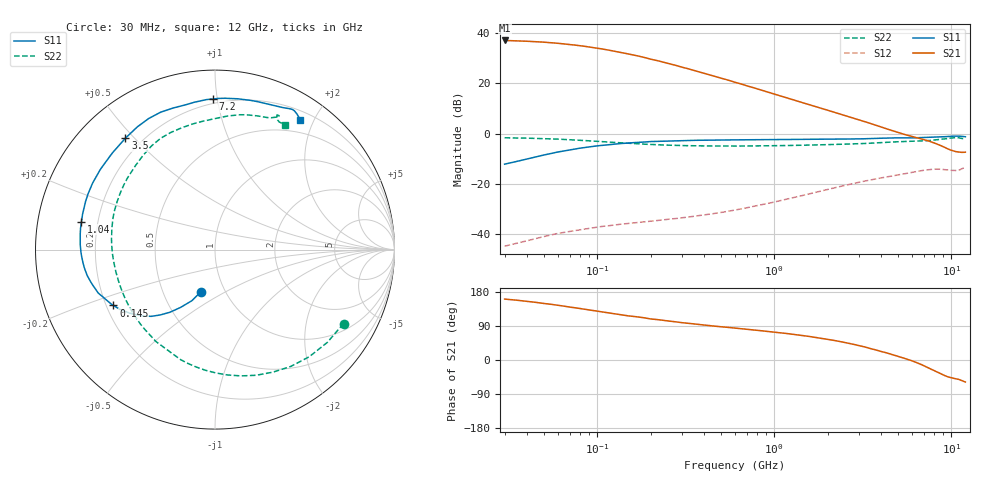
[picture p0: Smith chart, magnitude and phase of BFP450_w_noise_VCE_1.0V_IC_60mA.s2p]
! (c) 2015  Infineon Technologies AG, Munich
! Infineon Technologies  Discrete & RF Semiconductors
! BFP450
! VCE =  1.0 V,  IC =  60 mA
! Common Emitter S-Parameters:  Nov 2015
# GHz  S  MA  R  50
!  f  S11  S21  S12  S22
! GHz  MAG  ANG  MAG  ANG  MAG  ANG  MAG  ANG
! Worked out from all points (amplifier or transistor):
!   239 points, 30 MHz to 12 GHz, reference 50 ohm
!   highest |S21| = 37.0 dB at 30 MHz (marker M1)
!   |S21| within 3 dB of that: start of sweep to 98.5 MHz
!   unconditionally stable (mu >= 1): 1.001 GHz to end of sweep
!   at 300 MHz: K = 0.61, MSG = 29.9 dB, |S12| = -33.5 dB
!   at 1.88 GHz: K = 1.09, MAG = 14.4 dB, |S12| = -22.7 dB
!   at 12 GHz: K = 1.08, MAG = 1.2 dB, |S12| = -13.4 dB
!   lowest NFmin = 1.69 dB at 450 MHz
!   S11 on the Smith chart (normalised r, x): 30 MHz: 0.77, -0.38; 145 MHz: 0.23, -0.24; 1.04 GHz: 0.14, +0.10; 3.5 GHz: 0.14, +0.47; 7.2 GHz: 0.17, +0.97; 12 GHz: 0.31, +1.81
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0.03  0.2468 -108.5  70.79 160.8  0.0058 76.6  0.8261 -29.9
0.04  0.3121 -114.3  68.33 154.9  0.0074 71.7  0.8119 -39.5
0.05  0.3753 -120.8  65.45 149.2  0.009 68.2  0.7952 -48.6
0.06  0.4307 -125.8  62.13 144.5  0.0104 63.5  0.776 -57.0
0.07  0.4754 -130.0  58.84 139.6  0.0114 60.4  0.7551 -64.7
0.085  0.5282 -135.3  54.12 134.0  0.0127 57.0  0.7266 -75.0
0.1  0.5704 -140.5  49.69 128.8  0.0139 53.5  0.702 -84.3
0.11  0.5911 -143.1  47.08 125.9  0.0145 52.0  0.687 -89.7
0.145  0.6455 -151.2  39.08 117.5  0.0162 48.1  0.6464 -105.5
0.2  0.6941 -159.6  30.12 108.4  0.0182 45.9  0.6087 -122.8
0.24  0.7089 -163.7  25.87 104.2  0.0195 45.7  0.5919 -131.5
0.3  0.7268 -168.6  20.91 98.6  0.0212 46.2  0.5788 -141.8
0.36  0.7351 -172.2  17.58 94.8  0.023 47.5  0.5716 -149.0
0.45  0.7429 -176.4  14.04 89.8  0.0256 49.2  0.5668 -157.2
0.6  0.7508 178.5  10.45 84.0  0.0303 51.7  0.5659 -166.3
0.8  0.756 173.3  7.718 78.2  0.0369 53.8  0.5694 -174.6
1.04  0.7601 168.2  5.849 72.7  0.0451 54.4  0.5755 178.0
1.64  0.7709 157.5  3.596 61.0  0.0657 51.8  0.5924 164.5
3.5  0.7965 128.8  1.581 29.9  0.1207 32.1  0.6444 133.4
4.5  0.8185 116.8  1.182 16.0  0.1413 21.6  0.6773 121.5
7.2  0.8393 90.8  0.737 -17.9  0.1893 -6.5  0.7215 93.6
12  0.8661 56.8  0.427 -58.1  0.2146 -42.9  0.7973 60.8
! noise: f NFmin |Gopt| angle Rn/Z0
0.45  1.69  0.56  -173  0.06
0.9  1.74  0.58  -167  0.07
1.9  1.84  0.62  -151  0.12
2.4  1.92  0.62  -143  0.16
